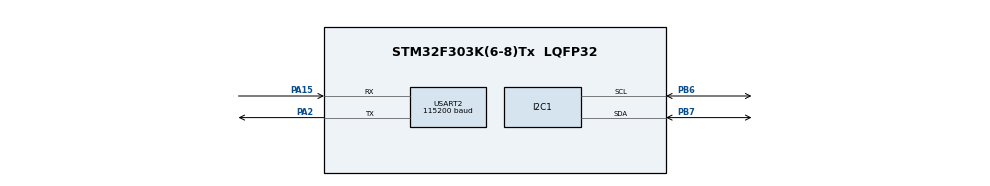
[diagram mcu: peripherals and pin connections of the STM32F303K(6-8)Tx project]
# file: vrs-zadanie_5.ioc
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Dma.Request0=USART2_RX
Dma.Request1=USART2_TX
Dma.USART2_RX.0.Direction=DMA_PERIPH_TO_MEMORY
Dma.USART2_RX.0.Instance=DMA1_Channel6
Dma.USART2_RX.0.MemDataAlignment=DMA_MDATAALIGN_BYTE
Dma.USART2_RX.0.MemInc=DMA_MINC_ENABLE
Dma.USART2_RX.0.Mode=DMA_NORMAL
Dma.USART2_RX.0.PeriphDataAlignment=DMA_PDATAALIGN_BYTE
Dma.USART2_RX.0.PeriphInc=DMA_PINC_DISABLE
Dma.USART2_RX.0.Priority=DMA_PRIORITY_MEDIUM
Dma.USART2_TX.1.Direction=DMA_MEMORY_TO_PERIPH
Dma.USART2_TX.1.Instance=DMA1_Channel7
Dma.USART2_TX.1.MemDataAlignment=DMA_MDATAALIGN_BYTE
Dma.USART2_TX.1.MemInc=DMA_MINC_ENABLE
Dma.USART2_TX.1.Mode=DMA_NORMAL
Dma.USART2_TX.1.PeriphDataAlignment=DMA_PDATAALIGN_BYTE
Dma.USART2_TX.1.PeriphInc=DMA_PINC_DISABLE
Dma.USART2_TX.1.Priority=DMA_PRIORITY_MEDIUM
I2C1.I2C_Fall_Time=0
I2C1.I2C_Rise_Time=0
I2C1.Timing=0x2000090E
Mcu.Family=STM32F3
Mcu.Name=STM32F303K(6-8)Tx
Mcu.Package=LQFP32
NVIC.DMA1_Channel6_IRQn=true\:0\:0\:false\:false\:true\:false\:true\:true
NVIC.DMA1_Channel7_IRQn=true\:0\:0\:false\:false\:true\:false\:true\:true
NVIC.PriorityGroup=NVIC_PRIORITYGROUP_4
PA15.Mode=Asynchronous
PA15.Signal=USART2_RX
PA2.Mode=Asynchronous
PA2.Signal=USART2_TX
PB6.Mode=I2C
PB6.Signal=I2C1_SCL
PB7.Mode=I2C
PB7.Signal=I2C1_SDA
ProjectManager.HeapSize=0x200
ProjectManager.StackSize=0x400
ProjectManager.TargetToolchain=STM32CubeIDE
RCC.AHBFreq_Value=8000000
RCC.APB1Freq_Value=8000000
RCC.APB2Freq_Value=8000000
RCC.CortexFreq_Value=8000000
RCC.HSE_VALUE=8000000
RCC.HSI_VALUE=8000000
RCC.SYSCLKFreq_VALUE=8000000
USART2.BaudRate=115200
USART2.VirtualMode-Asynchronous=VM_ASYNC
board=custom

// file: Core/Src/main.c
/* USER CODE BEGIN Header */
/**
 ******************************************************************************
 * @file           : main.c
 * @brief          : Main program body
 ******************************************************************************
 * @attention
 *
 * Copyright (c) 2025 STMicroelectronics.
 * All rights reserved.
 *
 * This software is licensed under terms that can be found in the LICENSE file
 * in the root directory of this software component.
 * If no LICENSE file comes with this software, it is provided AS-IS.
 *
 ******************************************************************************
 */
/* USER CODE END Header */
#include "main.h"
#include "dma.h"
#include "i2c.h"
#include "usart.h"
#include "gpio.h"

/* USER CODE BEGIN Includes */
#include <stdio.h>
#include <string.h>
#include "lps25hb.h"
#include "hts221.h"
/* USER CODE END Includes */

/* USER CODE BEGIN PV */
float lps25hb_press= 0;
float lps25hb_temp = 0;
float lps25hb_height = 0;
float hts221_humid = 0;
float hts221_temp = 0;
uint8_t usart_tx_data[USART_TX_BUFFER_SIZE];
/* USER CODE END PV */

void SystemClock_Config(void);

int main(void)
{

	/* MCU Configuration--------------------------------------------------------*/

	/* Reset of all peripherals, Initializes the Flash interface and the Systick. */
	LL_APB2_GRP1_EnableClock(LL_APB2_GRP1_PERIPH_SYSCFG);
	LL_APB1_GRP1_EnableClock(LL_APB1_GRP1_PERIPH_PWR);

	/* System interrupt init*/
	NVIC_SetPriorityGrouping(NVIC_PRIORITYGROUP_4);

	/* SysTick_IRQn interrupt configuration */
	NVIC_SetPriority(SysTick_IRQn, NVIC_EncodePriority(NVIC_GetPriorityGrouping(),15, 0));

	/* Configure the system clock */
	SystemClock_Config();

	/* Initialize all configured peripherals */
	MX_GPIO_Init();
	MX_DMA_Init();
	MX_I2C1_Init();
	MX_USART2_UART_Init();
	/* USER CODE BEGIN 2 */
	LPS25HB_Init(I2C1_MultiByteRead,I2C1_MultiByteWrite);
	HTS221_Init(I2C1_MultiByteRead,I2C1_MultiByteWrite);
	/* USER CODE END 2 */

	/* Infinite loop */
	/* USER CODE BEGIN WHILE */
	while (1)
	{
		lps25hb_press= LPS25HB_get_press();
		lps25hb_temp = LPS25HB_get_temp();
		lps25hb_height = LPS25HB_get_relative_height();
		hts221_humid = HTS221_get_humi();
		hts221_temp = HTS221_get_temp();
		snprintf((char*)usart_tx_data, USART_TX_BUFFER_SIZE, "%.1f,%.0f,%.2f,%.2f\n\r", hts221_temp, hts221_humid, lps25hb_press, lps25hb_height);
		USART2_PutBuffer(usart_tx_data, strlen((char*)usart_tx_data));
		LL_mDelay(100);
		/* USER CODE END WHILE */

	}
}

void SystemClock_Config(void)
{
	LL_FLASH_SetLatency(LL_FLASH_LATENCY_0);
	while(LL_FLASH_GetLatency()!= LL_FLASH_LATENCY_0)
	{
	}
	LL_RCC_HSI_Enable();

	/* Wait till HSI is ready */
	while(LL_RCC_HSI_IsReady() != 1)
	{

	}
	LL_RCC_HSI_SetCalibTrimming(16);
	LL_RCC_SetAHBPrescaler(LL_RCC_SYSCLK_DIV_1);
	LL_RCC_SetAPB1Prescaler(LL_RCC_APB1_DIV_1);
	LL_RCC_SetAPB2Prescaler(LL_RCC_APB2_DIV_1);
	LL_RCC_SetSysClkSource(LL_RCC_SYS_CLKSOURCE_HSI);

	/* Wait till System clock is ready */
	while(LL_RCC_GetSysClkSource() != LL_RCC_SYS_CLKSOURCE_STATUS_HSI)
	{

	}
	LL_Init1msTick(8000000);
	LL_SetSystemCoreClock(8000000);
	LL_RCC_SetI2CClockSource(LL_RCC_I2C1_CLKSOURCE_HSI);
}

void Error_Handler(void)
{
	__disable_irq();
	while (1)
	{
	}
}
